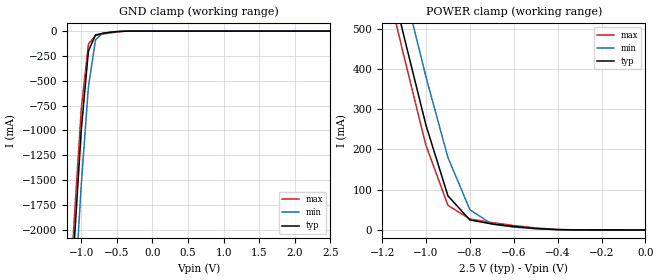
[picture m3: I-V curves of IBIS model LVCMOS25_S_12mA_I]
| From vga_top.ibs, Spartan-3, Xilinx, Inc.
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|   Model LVCMOS25_S_12mA_I
[Model]   LVCMOS25_S_12mA_I
Model_type   Input
Polarity   Non-Inverting
Vinl =   0.70V
Vinh =   1.70V
C_comp   6.38pF   4.60pF   8.23pF
[Temperature Range]   25.00   85.00   0.000
[Voltage Range]   2.50V   2.30V   2.70V
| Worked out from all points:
|   GND clamp passes 1 mA (typ) near -0.38 V on its own axis
|   POWER clamp passes 1 mA (typ) near -0.41 V on its own axis
[GND_clamp]
| voltage   I(typ)   I(min)   I(max)
-2.5V     -21.56A    -22.07A    -21.35A
-1.2V     -3.41A     -4.01A     -3.17A
-1.1V     -2.14A     -2.73A     -1.9A
-1V       -990mA     -1.54A     -780mA
-900mV    -200mA     -560mA     -130mA
-800mV    -38.51mA   -87.42mA   -44.56mA
-700mV    -22.72mA   -20.52mA   -30.56mA
-400mV    -1.21mA    -970uA     -2.67mA
2.5V      19.29nA    8.49uA     24.01nA
[POWER_clamp]
| voltage   I(typ)   I(min)   I(max)
-2.5V     4.06A      4.18A      4.02A
-1.2V     710mA      840mA      660mA
-1.1V     480mA      600mA      430mA
-1V       260mA      380mA      210mA
-900mV    84.79mA    180mA      61.18mA
-800mV    24.88mA    50.29mA    27.26mA
-700mV    15.03mA    14.55mA    18.43mA
-600mV    8.66mA     7.1mA      11.09mA
-400mV    790uA      730uA      1.23mA
0V        19.29nA    79.37nA    32.11nA
